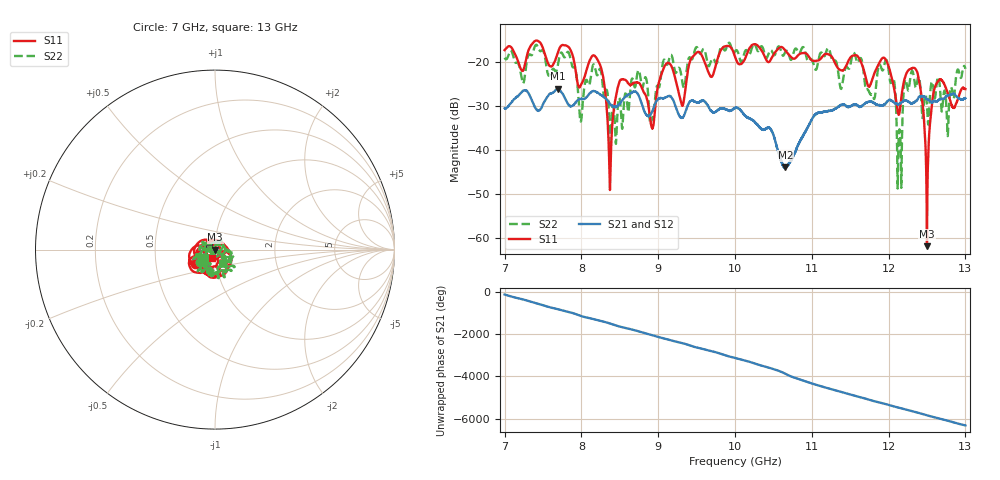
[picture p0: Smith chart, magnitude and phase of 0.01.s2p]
[Version] 2.0
! Rohde & Schwarz Vector Network Analyzer
! Rohde-Schwarz,ZNL20-2Port,1323001220200009,1.71.1.10-23.02.1.238
! Port Assignments:
! Nominal Port -> Actual Test Port
!  1 -> 1
!  2 -> 2
! Created: GMT+3 2024-09-24 15:57:41
# Hz S DB R 50
[Number of Ports] 2
[Two-Port Data Order] 21_12
! freq[Hz]  S11[mag dB]  S11[ang]  S21[mag dB]  S21[ang]  S12[mag dB]  S12[ang]  S22[mag dB]  S22[ang]
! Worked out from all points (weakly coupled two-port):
!   6001 points, 7 GHz to 13 GHz, reference 50 ohm
!   highest |S21| = -26.16 dB at 7.695 GHz (marker M1); lowest = -44.1 dB at 10.66 GHz (marker M2)
!   lowest |S11| = -61.9 dB at 12.5 GHz (marker M3), VSWR 1.00, Z = 50.1 - j0.0157 ohm
!   |S11| at or under -10 dB: start of sweep to end of sweep
!   |S22| runs from -48.8 to -15.7 dB; largest |S21 - S12| = 0.00083
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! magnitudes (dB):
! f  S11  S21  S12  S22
! 7 GHz  -17.4  -30.6  -30.6  -19.2
! 7.695 GHz  -17.9  -26.2  -26.2  -20.7
! 7.838 GHz  -16.8  -29.9  -30.0  -18.1
! 8 GHz  -25.1  -28.5  -28.5  -33.0
! 8.233 GHz  -20.4  -27.3  -27.4  -21.8
! 8.373 GHz  -49.0  -29.6  -29.7  -39.1
! 8.509 GHz  -24.2  -29.4  -29.4  -30.0
! 8.745 GHz  -24.8  -27.7  -27.7  -22.0
! 8.92 GHz  -35.1  -31.4  -31.4  -32.8
! 9 GHz  -25.3  -28.5  -28.6  -25.6
! 10 GHz  -18.9  -30.6  -30.6  -17.7
! 10.66 GHz  -17.6  -44.1  -43.8  -17.8
! 11 GHz  -19.7  -33.1  -33.1  -19.6
! 11.79 GHz  -23.6  -29.3  -29.3  -27.8
! 12 GHz  -21.1  -28.8  -28.8  -21.9
! 12.14 GHz  -31.7  -29.6  -29.6  -35.5
! 12.22 GHz  -23.4  -28.8  -28.9  -24.2
! 12.36 GHz  -21.9  -28.9  -29.0  -25.8
! 12.5 GHz  -61.9  -28.5  -28.6  -30.1
! 12.62 GHz  -25.0  -29.0  -29.1  -25.2
! 12.77 GHz  -27.2  -27.7  -27.7  -36.9
! 13 GHz  -26.3  -28.3  -28.3  -21.7
